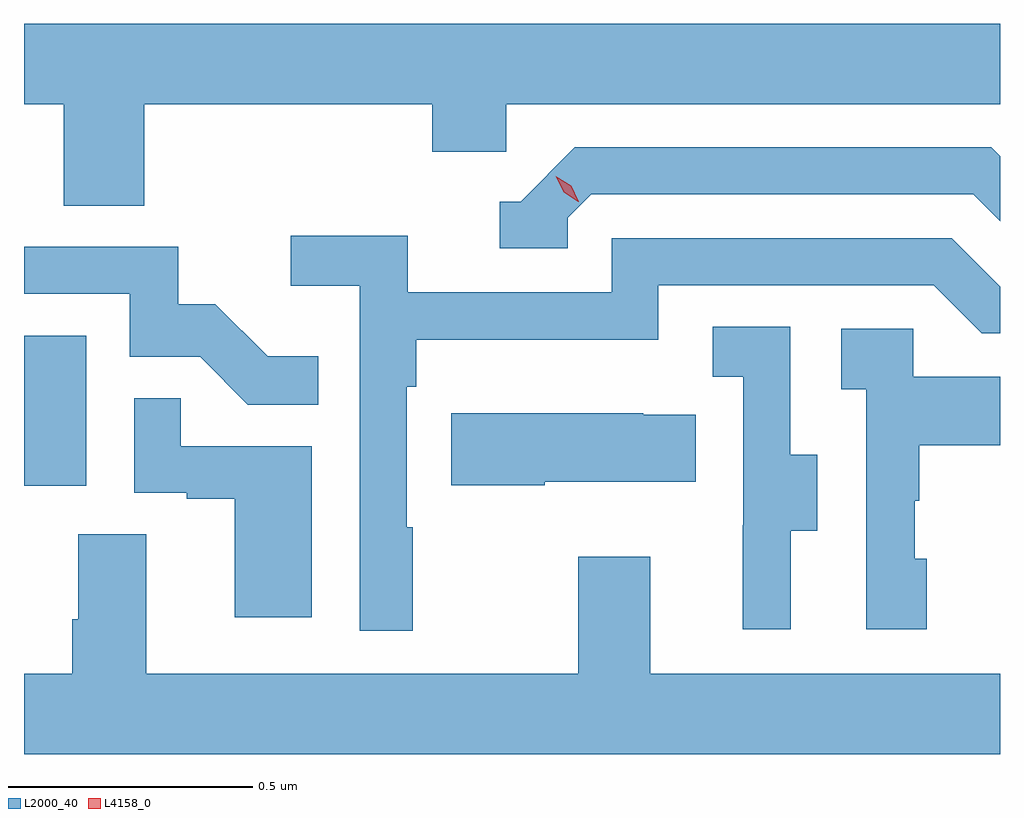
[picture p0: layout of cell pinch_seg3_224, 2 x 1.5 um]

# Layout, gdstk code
import gdstk
lib = gdstk.Library(unit=1e-6, precision=1e-09)
def R(c, l, rs):  # rectangles x0, y0, x1, y1
    for r in rs: c.add(gdstk.rectangle(r[:2], r[2:], *l))
def P(c, l, *ps):  # polygons
    for p in ps: c.add(gdstk.Polygon(p, *l))
L2000_40 = (2000, 40)
L4158_0 = (4158, 0)

pinch_seg3_224 = lib.new_cell('pinch_seg3_224')
R(pinch_seg3_224, L2000_40, [(935.474,734.766,935.602,735.073)])
P(pinch_seg3_224, L2000_40, [(935.72,735.548),(936.311,735.548),(936.311,735.45),(936.462,735.45),(936.462,735.548),(937.474,735.548),(937.474,735.712),(935.474,735.712),(935.474,735.548),(935.555,735.548),(935.555,735.34),(935.72,735.34)],
  [(936.588,735.315),(936.636,735.363),(937.419,735.363),(937.474,735.308),(937.474,735.441),(937.456,735.459),(936.603,735.459),(936.492,735.348),(936.449,735.348),(936.449,735.252),(936.588,735.252)],
  [(936.271,734.681),(936.258,734.681),(936.258,734.969),(936.278,734.969),(936.278,735.065),(936.774,735.065),(936.774,735.177),(937.338,735.177),(937.437,735.078),(937.474,735.078),(937.474,735.174),(937.375,735.273),(936.678,735.273),(936.678,735.162),(936.26,735.162),(936.26,735.278),(936.021,735.278),(936.021,735.176),(936.162,735.176),(936.162,734.469),(936.271,734.469)],
  [(936.077,735.031),(935.973,735.031),(935.866,735.138),(935.79,735.138),(935.79,735.255),(935.474,735.255),(935.474,735.159),(935.691,735.159),(935.691,735.03),(935.835,735.03),(935.933,734.932),(936.077,734.932)],
  [(937.045,734.674),(937.099,734.674),(937.099,734.829),(937.044,734.829),(937.044,735.092),(936.885,735.092),(936.885,734.989),(936.948,734.989),(936.948,734.685),(936.947,734.685),(936.947,734.472),(937.045,734.472)],
  [(937.324,734.616),(937.299,734.616),(937.299,734.735),(937.309,734.735),(937.309,734.849),(937.474,734.849),(937.474,734.989),(937.296,734.989),(937.296,735.087),(937.149,735.087),(937.149,734.963),(937.2,734.963),(937.2,734.472),(937.324,734.472)],
  [(936.064,734.847),(935.795,734.847),(935.795,734.945),(935.7,734.945),(935.7,734.751),(935.807,734.751),(935.807,734.739),(935.906,734.739),(935.906,734.496),(936.064,734.496)],
  [(936.541,734.774),(936.851,734.774),(936.851,734.911),(936.743,734.911),(936.743,734.914),(936.35,734.914),(936.35,734.767),(936.541,734.767)],
  [(937.474,734.38),(936.757,734.38),(936.757,734.62),(936.61,734.62),(936.61,734.38),(935.725,734.38),(935.725,734.666),(935.585,734.666),(935.585,734.492),(935.573,734.492),(935.573,734.38),(935.474,734.38),(935.474,734.216),(937.474,734.216)])
P(pinch_seg3_224, L4158_0, [(936.61,735.348),(936.58,735.367),(936.564,735.4),(936.564,735.4),(936.564,735.4),(936.595,735.381),(936.611,735.348),(936.611,735.348)])

lib.write_gds('pinch_seg3_224.gds')
